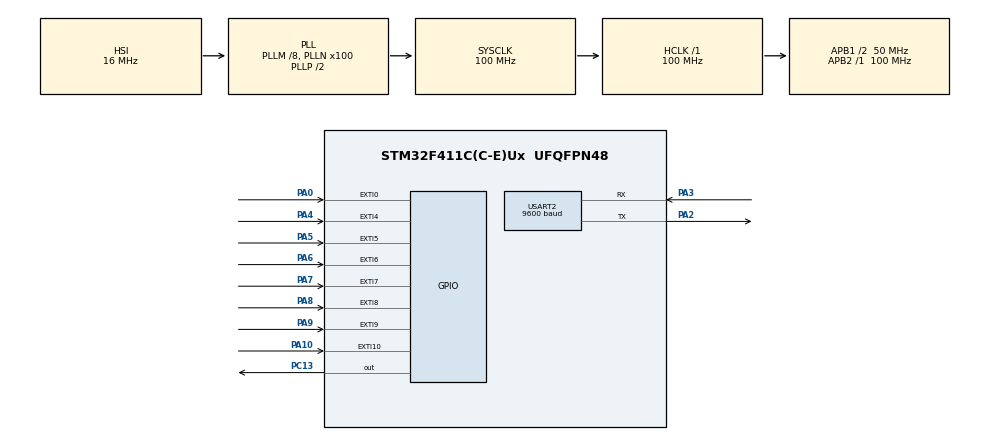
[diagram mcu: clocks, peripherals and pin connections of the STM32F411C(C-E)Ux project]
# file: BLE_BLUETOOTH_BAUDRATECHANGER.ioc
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Mcu.Family=STM32F4
Mcu.Name=STM32F411C(C-E)Ux
Mcu.Package=UFQFPN48
NVIC.EXTI0_IRQn=true\:0\:0\:false\:false\:true\:true\:true\:true
NVIC.EXTI15_10_IRQn=true\:0\:0\:false\:false\:true\:true\:true\:true
NVIC.EXTI9_5_IRQn=true\:0\:0\:false\:false\:true\:true\:true\:true
NVIC.PriorityGroup=NVIC_PRIORITYGROUP_4
PA0-WKUP.GPIO_ModeDefaultEXTI=GPIO_MODE_IT_FALLING
PA0-WKUP.GPIO_PuPd=GPIO_PULLUP
PA0-WKUP.Signal=GPXTI0
PA10.GPIO_ModeDefaultEXTI=GPIO_MODE_IT_FALLING
PA10.GPIO_PuPd=GPIO_PULLUP
PA10.Signal=GPXTI10
PA13.Mode=Serial_Wire
PA13.Signal=SYS_JTMS-SWDIO
PA14.Mode=Serial_Wire
PA14.Signal=SYS_JTCK-SWCLK
PA2.Mode=Asynchronous
PA2.Signal=USART2_TX
PA3.Mode=Asynchronous
PA3.Signal=USART2_RX
PA4.GPIO_PuPd=GPIO_PULLUP
PA4.Signal=GPXTI4
PA5.Signal=GPXTI5
PA6.GPIO_ModeDefaultEXTI=GPIO_MODE_IT_FALLING
PA6.GPIO_PuPd=GPIO_PULLUP
PA6.Signal=GPXTI6
PA7.GPIO_ModeDefaultEXTI=GPIO_MODE_IT_FALLING
PA7.GPIO_PuPd=GPIO_PULLUP
PA7.Signal=GPXTI7
PA8.GPIO_ModeDefaultEXTI=GPIO_MODE_IT_FALLING
PA8.GPIO_PuPd=GPIO_PULLUP
PA8.Signal=GPXTI8
PA9.GPIO_ModeDefaultEXTI=GPIO_MODE_IT_FALLING
PA9.GPIO_PuPd=GPIO_PULLUP
PA9.Signal=GPXTI9
PC13-ANTI_TAMP.GPIO_PuPd=GPIO_PULLUP
PC13-ANTI_TAMP.Signal=GPIO_Output
PH0\ -\ OSC_IN.Mode=HSE-External-Oscillator
PH0\ -\ OSC_IN.Signal=RCC_OSC_IN
PH1\ -\ OSC_OUT.Mode=HSE-External-Oscillator
PH1\ -\ OSC_OUT.Signal=RCC_OSC_OUT
ProjectManager.HeapSize=0x200
ProjectManager.StackSize=0x400
ProjectManager.TargetToolchain=STM32CubeIDE
RCC.48MHZClocksFreq_Value=40000000
RCC.AHBFreq_Value=100000000
RCC.APB1CLKDivider=RCC_HCLK_DIV2
RCC.APB1Freq_Value=50000000
RCC.APB1TimFreq_Value=100000000
RCC.APB2Freq_Value=100000000
RCC.APB2TimFreq_Value=100000000
RCC.CortexFreq_Value=100000000
RCC.HCLKFreq_Value=100000000
RCC.HSE_VALUE=25000000
RCC.HSI_VALUE=16000000
RCC.LSE_VALUE=32768
RCC.PLLM=8
RCC.PLLN=100
RCC.PLLQ=5
RCC.SYSCLKFreq_VALUE=100000000
RCC.SYSCLKSource=RCC_SYSCLKSOURCE_PLLCLK
RCC.VCOOutputFreq_Value=200000000
USART2.BaudRate=9600
USART2.VirtualMode=VM_ASYNC
board=custom

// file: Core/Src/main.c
/* USER CODE BEGIN Header */
/**
 ******************************************************************************
 * @file           : main.c
 * @brief          : Main program body
 ******************************************************************************
 * @attention
 *
 * Copyright (c) 2024 STMicroelectronics.
 * All rights reserved.
 *
 * This software is licensed under terms that can be found in the LICENSE file
 * in the root directory of this software component.
 * If no LICENSE file comes with this software, it is provided AS-IS.
 *
 ******************************************************************************
 */
/* USER CODE END Header */
#include "main.h"

/* USER CODE BEGIN Includes */
#include <string.h>
/* USER CODE END Includes */

/* USER CODE BEGIN PD */
#define PRINT_BUFFER_SIZE 500
#define RESPONSE_BUFFER_SIZE 100
#define BT05
//#define HC05
/* USER CODE END PD */

UART_HandleTypeDef huart2;

/* USER CODE BEGIN PV */
uint8_t flag0 = 0;  // Pushbutton "KEY" no STM32
uint8_t flag6 = 0;  // Pushbutton 1 no protoboard
uint8_t flag7 = 0;  // Pushbutton 2 no protoboard
uint8_t flag8 = 0;  // Pushbutton 3 no protoboard
uint8_t flag9 = 0;  // Pushbutton 4 no protoboard
uint8_t flag10 = 0; // Pushbutton 5 no protoboard
uint8_t timeOut = 200;
uint32_t detectedBR;
char rxBuffer[100];
char testBT05[] = "AT\r\n"; // O BT05 HM-10 retorna "OK"
char testHC05[] = "AT+UART?\r\n";
uint32_t baudRates[] = { 1200, 2400, 4800, 9600, 19200, 38400, 57600, 115200 };

#ifdef BT05
char *BT05_baudRateCodes[] = {
		"AT+BAUD1\r\n", // 1200
		"AT+BAUD2\r\n", // 2400
		"AT+BAUD3\r\n", // 4800
		"AT+BAUD4\r\n", // 9600   Botão 1 PA6 Normalmente padrão
		"AT+BAUD5\r\n", // 19200  Botão 2 PA7
		"AT+BAUD6\r\n", // 38400  Botão 3 PA8
		"AT+BAUD7\r\n", // 57600  Botão 4 PA9
		"AT+BAUD8\r\n"  // 115200 Botão 5 PA10
		};
#endif

#ifdef HC05
char *HC05_baudRateCodes[] = {
		"AT+UART=1200,0,0\r\n", // 1200
		"AT+UART=2400,0,0\r\n", // 2400
		"AT+UART=4800,0,0\r\n", // 4800
		"AT+UART=9600,0,0\r\n", // 9600   Botão 1 PA6
		"AT+UART=19200,0,0\r\n", // 19200  Botão 2 PA7
		"AT+UART=38400,0,0\r\n", // 38400  Botão 3 PA8 Normalmente padrão
		"AT+UART=57600,0,0\r\n", // 57600  Botão 4 PA9
		"AT+UART=115200,0,0\r\n"  // 115200 Botão 5 PA10
		};
#endif
/* USER CODE END PV */

void SystemClock_Config(void);
static void MX_GPIO_Init(void);
static void MX_USART2_UART_Init(void);
/* USER CODE BEGIN PFP */
uint32_t detectBaudRate();
void changeBaudRate(uint8_t bRateCode, char *Buf);
void blinkTest(uint8_t, uint16_t);
void HAL_GPIO_EXTI_Callback(uint16_t GPIO_Pin);

/* USER CODE END PFP */

int main(void)
{

  /* MCU Configuration--------------------------------------------------------*/

  /* Reset of all peripherals, Initializes the Flash interface and the Systick. */
  HAL_Init();

  /* Configure the system clock */
  SystemClock_Config();

  /* Initialize all configured peripherals */
  MX_GPIO_Init();
  MX_USART2_UART_Init();
  /* USER CODE BEGIN 2 */
	HAL_Delay(1000);

  /* USER CODE END 2 */

  /* Infinite loop */
  /* USER CODE BEGIN WHILE */
	while (1) {

		if (flag0) {
			HAL_GPIO_WritePin(GPIOC, GPIO_PIN_13, GPIO_PIN_SET);
			// LED apagado indicando mode de alteração
			// Se flag0 então pode-se alterar a baudrate
			if (flag6) {
				detectedBR = detectBaudRate();
				if (detectedBR == baudRates[3]) {
					blinkTest(10, 50); // Pisca rápido indicando que a baudrate selecionda
				}                      // já é a baudrate atual do BT05
				else {
					#ifdef HC05
						changeBaudRate(3, HC05_baudRateCodes[3]); // "AT+UART=9600,0,0\r\n" 9600
					#endif
					#ifdef BT05
						changeBaudRate(3, BT05_baudRateCodes[3]); // "AT+BAUD4\r\n" 9600
					#endif
					HAL_Delay(200);
					detectedBR = detectBaudRate();
					if (detectedBR == baudRates[3]) {
						blinkTest(4, 300);
					}
					else {
						blinkTest(10, 50); // Pisca rápido indicando que a baudrate selecionda
					}					   // já é a baudrate atual do BT05
				}
				NVIC_SystemReset();
			}
			if (flag7) {
				detectedBR = detectBaudRate();
				if (detectedBR == baudRates[4]) {
					blinkTest(10, 50);
				}
				else {
					#ifdef HC05
						changeBaudRate(4, HC05_baudRateCodes[4]); // "AT+UART=9600,0,0\r\n" 9600
					#endif
					#ifdef BT05
						changeBaudRate(4, BT05_baudRateCodes[4]); // "AT+BAUD4\r\n" 9600
					#endif
					HAL_Delay(200);
					detectedBR = detectBaudRate();
					if (detectedBR == baudRates[4]) {
						blinkTest(5, 300);
					}
					else {
						blinkTest(10, 50);
					}
				}
				NVIC_SystemReset();
			}
			if (flag8) {
				detectedBR = detectBaudRate();
				if (detectedBR == baudRates[5]) {
					blinkTest(10, 50);
				}
				else {
					#ifdef HC05
						changeBaudRate(5, HC05_baudRateCodes[5]); // "AT+UART=9600,0,0\r\n" 9600
					#endif
					#ifdef BT05
						changeBaudRate(5, BT05_baudRateCodes[5]); // "AT+BAUD4\r\n" 9600
					#endif
						HAL_Delay(200);
					detectedBR = detectBaudRate();
					if (detectedBR == baudRates[5]) {
						blinkTest(6, 300);
					}
					else {
						blinkTest(10, 50);
					}
				}
				NVIC_SystemReset();
			}
			if (flag9) {
				detectedBR = detectBaudRate();
				if (detectedBR == baudRates[6]) {
					blinkTest(10, 50);
				}
				else {
					#ifdef HC05
						changeBaudRate(6, HC05_baudRateCodes[6]); // "AT+UART=9600,0,0\r\n" 9600
					#endif
					#ifdef BT05
						changeBaudRate(6, BT05_baudRateCodes[6]); // "AT+BAUD4\r\n" 9600
					#endif
					HAL_Delay(200);
					detectedBR = detectBaudRate();
					if (detectedBR == baudRates[6]) {
						blinkTest(7, 300);
					}
					else {
						blinkTest(10, 50);
					}
				}
				NVIC_SystemReset();
			}
			if (flag10) {
				detectedBR = detectBaudRate();
				if (detectedBR == baudRates[7]) {
					blinkTest(10, 50);
				}
				else {
					#ifdef HC05
						changeBaudRate(7, HC05_baudRateCodes[7]); // "AT+UART=9600,0,0\r\n" 9600
					#endif
					#ifdef BT05
						changeBaudRate(7, BT05_baudRateCodes[7]); // "AT+BAUD4\r\n" 9600
					#endif
					HAL_Delay(200);
					detectedBR = detectBaudRate();
					if (detectedBR == baudRates[7]) {
						blinkTest(8, 300);
					}
					else {
						blinkTest(10, 50);
					}
				}
				NVIC_SystemReset();
			}

		}
		else {
			// Não se pode alterar a baudrate.
			// Somente a verificação está habilitada.
			if (flag6) {
				detectedBR = detectBaudRate();
				if (detectedBR == baudRates[3]) {
					blinkTest(4, 300);
				} else {
					blinkTest(10, 50); // Pisca rápido indicando que a baudrate selecionda
				}                      // já é a baudrate atual do BT05
				flag6 = 0;
			}

			if (flag7) {
				detectedBR = detectBaudRate();
				if (detectedBR == baudRates[4]) {
					blinkTest(5, 300);
				} else {
					blinkTest(10, 50);
				}
				flag7 = 0;
			}

			if (flag8) {
				detectedBR = detectBaudRate();
				if (detectedBR == baudRates[5]) {
					blinkTest(6, 300);
				} else {
					blinkTest(10, 50);
				}
				flag8 = 0;
			}

			if (flag9) {
				detectedBR = detectBaudRate();
				if (detectedBR == baudRates[6]) {
					blinkTest(7, 300);
				} else {
					blinkTest(10, 50);
				}
				flag9 = 0;
			}

			if (flag10) {
				detectedBR = detectBaudRate();
				if (detectedBR == baudRates[7]) {
					blinkTest(8, 300);
				} else {
					blinkTest(10, 50);
				}
				flag10 = 0;
			}
		}

    /* USER CODE END WHILE */

	}
}

void SystemClock_Config(void)
{
  RCC_OscInitTypeDef RCC_OscInitStruct = {0};
  RCC_ClkInitTypeDef RCC_ClkInitStruct = {0};

  /** Configure the main internal regulator output voltage
  */
  __HAL_RCC_PWR_CLK_ENABLE();
  __HAL_PWR_VOLTAGESCALING_CONFIG(PWR_REGULATOR_VOLTAGE_SCALE1);

  /** Initializes the RCC Oscillators according to the specified parameters
  * in the RCC_OscInitTypeDef structure.
  */
  RCC_OscInitStruct.OscillatorType = RCC_OSCILLATORTYPE_HSI;
  RCC_OscInitStruct.HSIState = RCC_HSI_ON;
  RCC_OscInitStruct.HSICalibrationValue = RCC_HSICALIBRATION_DEFAULT;
  RCC_OscInitStruct.PLL.PLLState = RCC_PLL_ON;
  RCC_OscInitStruct.PLL.PLLSource = RCC_PLLSOURCE_HSI;
  RCC_OscInitStruct.PLL.PLLM = 8;
  RCC_OscInitStruct.PLL.PLLN = 100;
  RCC_OscInitStruct.PLL.PLLP = RCC_PLLP_DIV2;
  RCC_OscInitStruct.PLL.PLLQ = 5;
  if (HAL_RCC_OscConfig(&RCC_OscInitStruct) != HAL_OK)
  {
    Error_Handler();
  }

  /** Initializes the CPU, AHB and APB buses clocks
  */
  RCC_ClkInitStruct.ClockType = RCC_CLOCKTYPE_HCLK|RCC_CLOCKTYPE_SYSCLK
                              |RCC_CLOCKTYPE_PCLK1|RCC_CLOCKTYPE_PCLK2;
  RCC_ClkInitStruct.SYSCLKSource = RCC_SYSCLKSOURCE_PLLCLK;
  RCC_ClkInitStruct.AHBCLKDivider = RCC_SYSCLK_DIV1;
  RCC_ClkInitStruct.APB1CLKDivider = RCC_HCLK_DIV2;
  RCC_ClkInitStruct.APB2CLKDivider = RCC_HCLK_DIV1;

  if (HAL_RCC_ClockConfig(&RCC_ClkInitStruct, FLASH_LATENCY_3) != HAL_OK)
  {
    Error_Handler();
  }
}

static void MX_USART2_UART_Init(void)
{

  huart2.Instance = USART2;
#ifdef HC05
  huart2.Init.BaudRate = 38400;
#endif
#ifdef BT05
  huart2.Init.BaudRate = 9600;
#endif
  huart2.Init.WordLength = UART_WORDLENGTH_8B;
  huart2.Init.StopBits = UART_STOPBITS_1;
  huart2.Init.Parity = UART_PARITY_NONE;
  huart2.Init.Mode = UART_MODE_TX_RX;
  huart2.Init.HwFlowCtl = UART_HWCONTROL_NONE;
  huart2.Init.OverSampling = UART_OVERSAMPLING_16;
  if (HAL_UART_Init(&huart2) != HAL_OK)
  {
    Error_Handler();
  }

}

static void MX_GPIO_Init(void)
{
  GPIO_InitTypeDef GPIO_InitStruct = {0};

  /* GPIO Ports Clock Enable */
  __HAL_RCC_GPIOC_CLK_ENABLE();
  __HAL_RCC_GPIOH_CLK_ENABLE();
  __HAL_RCC_GPIOA_CLK_ENABLE();

  /*Configure GPIO pin Output Level */
  HAL_GPIO_WritePin(GPIOC, GPIO_PIN_13, GPIO_PIN_RESET);

  /*Configure GPIO pin : PC13 */
  GPIO_InitStruct.Pin = GPIO_PIN_13;
  GPIO_InitStruct.Mode = GPIO_MODE_OUTPUT_PP;
  GPIO_InitStruct.Pull = GPIO_PULLUP;
  GPIO_InitStruct.Speed = GPIO_SPEED_FREQ_LOW;
  HAL_GPIO_Init(GPIOC, &GPIO_InitStruct);

  /*Configure GPIO pins : PA0 PA6 PA7 PA8
                           PA9 PA10 */
  GPIO_InitStruct.Pin = GPIO_PIN_0|GPIO_PIN_6|GPIO_PIN_7|GPIO_PIN_8
                          |GPIO_PIN_9|GPIO_PIN_10;
  GPIO_InitStruct.Mode = GPIO_MODE_IT_FALLING;
  GPIO_InitStruct.Pull = GPIO_PULLUP;
  HAL_GPIO_Init(GPIOA, &GPIO_InitStruct);

  /*Configure GPIO pin : PA4 */
  GPIO_InitStruct.Pin = GPIO_PIN_4;
  GPIO_InitStruct.Mode = GPIO_MODE_IT_RISING;
  GPIO_InitStruct.Pull = GPIO_PULLUP;
  HAL_GPIO_Init(GPIOA, &GPIO_InitStruct);

  /*Configure GPIO pin : PA5 */
  GPIO_InitStruct.Pin = GPIO_PIN_5;
  GPIO_InitStruct.Mode = GPIO_MODE_IT_RISING;
  GPIO_InitStruct.Pull = GPIO_NOPULL;
  HAL_GPIO_Init(GPIOA, &GPIO_InitStruct);

  /* EXTI interrupt init*/
  HAL_NVIC_SetPriority(EXTI0_IRQn, 0, 0);
  HAL_NVIC_EnableIRQ(EXTI0_IRQn);

  HAL_NVIC_SetPriority(EXTI9_5_IRQn, 0, 0);
  HAL_NVIC_EnableIRQ(EXTI9_5_IRQn);

  HAL_NVIC_SetPriority(EXTI15_10_IRQn, 0, 0);
  HAL_NVIC_EnableIRQ(EXTI15_10_IRQn);

}

/* USER CODE BEGIN 4 */

uint32_t detectBaudRate() {
	int br;
#ifdef HC05
	for (int i = 0; i < 8; i++) {
		br = baudRates[i];
		char str[32];
		memset(rxBuffer, 0, sizeof(rxBuffer));
		HAL_UART_Transmit(&huart2, (uint8_t*) testHC05, strlen(testHC05), timeOut);
		HAL_UART_Receive(&huart2, (uint8_t*) rxBuffer, RESPONSE_BUFFER_SIZE, timeOut);
		sprintf(str, "%d", br);
		if (strstr(rxBuffer, str) != NULL) {
			// Se na string rxBuffer existir um substring "OK"
			return br;
		}
		br = 0;
	}
#endif

#ifdef BT05
	for (int i = 0; i < 8; i++) {
		br = baudRates[i];
		huart2.Init.BaudRate = baudRates[i];
		HAL_UART_Init(&huart2);
		memset(rxBuffer, 0, sizeof(rxBuffer));
		HAL_UART_Transmit(&huart2, (uint8_t*) testBT05, strlen(testBT05), timeOut);
		HAL_UART_Receive(&huart2, (uint8_t*) rxBuffer, RESPONSE_BUFFER_SIZE, timeOut);
		if (strstr(rxBuffer, "OK") != NULL) {
			// Se na string rxBuffer existir um substring "OK"
			return br;
		}
		br = 0;
	}
#endif
	return br;
}

void changeBaudRate(uint8_t bRateCode, char *Buf) {
	HAL_UART_Transmit(&huart2, (uint8_t*) Buf, strlen(Buf), timeOut);
#ifdef BT05
	switch (bRateCode) {
		case 0:
			huart2.Init.BaudRate = baudRates[0];
			break;
		case 1:
			huart2.Init.BaudRate = baudRates[1];
			break;
		case 2:
			huart2.Init.BaudRate = baudRates[2];
			break;
		case 3:
			huart2.Init.BaudRate = baudRates[3];
			break;
		case 4:
			huart2.Init.BaudRate = baudRates[4];
			break;
		case 5:
			huart2.Init.BaudRate = baudRates[5];
			break;
		case 6:
			huart2.Init.BaudRate = baudRates[6];
			break;
		case 7:
			huart2.Init.BaudRate = baudRates[7];
			break;
		default:
			huart2.Init.BaudRate = baudRates[3];
			break;
	}
	HAL_UART_Init(&huart2);
#endif
 }

void blinkTest(uint8_t bCode, uint16_t dly) {
	uint8_t nBlink;
	HAL_Delay(dly);
	HAL_GPIO_WritePin(GPIOC, GPIO_PIN_13, GPIO_PIN_RESET);
	for (uint8_t i = 0; i < 2 * bCode; i++) {
		// Multiplica por 2 porque são nBlink vezes acesos e nBlink vezes apagado
		HAL_GPIO_TogglePin(GPIOC, GPIO_PIN_13);
		HAL_Delay(dly);
	}
}

void HAL_GPIO_EXTI_Callback(uint16_t GPIO_Pin) {
	switch (GPIO_Pin) {
	case GPIO_PIN_0: // Alterna entre alteração ou somente verificação da baudrate
		flag0 = 1;
		break;
	case GPIO_PIN_6: // PA6 9600
		flag6 = 1;
		break;
	case GPIO_PIN_7: // PA7 19200
		flag7 = 1;
		break;
	case GPIO_PIN_8: // PA8 38400
		flag8 = 1;
		break;
	case GPIO_PIN_9: // PA9 57600
		flag9 = 1;
		break;
	case GPIO_PIN_10: // PA10 115200
		flag10 = 1;
		break;
	default:
		break;
	}
}

/* USER CODE END 4 */

void Error_Handler(void)
{
	__disable_irq();
	while (1) {
	}
}
